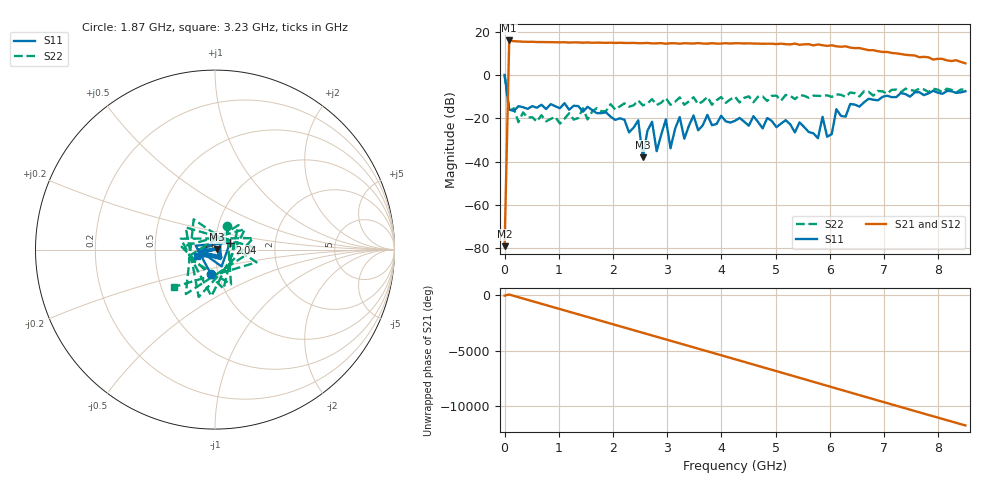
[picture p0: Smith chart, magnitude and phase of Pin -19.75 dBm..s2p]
! RsaToolbox (C) 2013 Rohde & Schwarz America
! Number of points: 101
! Number of ports: 2
! Balanced ports?: 0
# Hz S RI R 50
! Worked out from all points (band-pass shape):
!   101 points, 9 kHz to 8.5 GHz, reference 50 ohm
!   highest |S21| = 16.10 dB at 85.01 MHz (marker M1); lowest = -79.2 dB at 9 kHz (marker M2)
!   |S21| within 3 dB of the highest: 82.33 MHz to 6.332 GHz (6.25 GHz wide, 195 % of centre)
!   lowest |S11| = -38.0 dB at 2.55 GHz (marker M3), VSWR 1.03, Z = 51.3 + j0.218 ohm
!   |S11| at or under -10 dB: 53.65 MHz to 6.975 GHz (6.922 GHz wide, 197 % of centre); 7.122 GHz to 7.23 GHz (108.4 MHz wide, 1.51 % of centre)
!   |S22| runs from -22.4 to 0.1 dB; largest |S21 - S12| = 0
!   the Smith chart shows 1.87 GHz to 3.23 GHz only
!   S11 on the Smith chart (normalised r, x): 1.87 GHz: 0.92, -0.26; 2.04 GHz: 1.18, +0.09; 3.23 GHz: 0.81, -0.06
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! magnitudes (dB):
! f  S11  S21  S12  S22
! 9 kHz  0.2  -79.2  -79.2  0.1
! 85.01 MHz  -15.9  16.1  16.1  -16.6
! 1.02 GHz  -15.3  15.2  15.2  -22.4
! 1.445 GHz  -16.9  15.1  15.1  -15.3
! 1.87 GHz  -17.2  15.0  15.0  -16.6
! 2.04 GHz  -20.7  15.0  15.0  -15.9
! 2.465 GHz  -20.9  14.8  14.8  -11.7
! 2.55 GHz  -38.0  14.9  14.9  -14.0
! 2.72 GHz  -21.6  14.7  14.7  -11.1
! 2.805 GHz  -35.2  14.8  14.8  -13.8
! 2.89 GHz  -27.4  14.9  14.9  -12.7
! 2.975 GHz  -20.4  14.6  14.6  -10.6
! 3.06 GHz  -33.8  14.8  14.8  -13.7
! 3.23 GHz  -19.4  14.6  14.6  -10.2
! 3.315 GHz  -29.4  14.8  14.8  -13.7
! 3.485 GHz  -18.6  14.7  14.7  -10.2
! 3.57 GHz  -25.5  14.9  14.9  -13.4
! 4.25 GHz  -21.1  14.8  14.8  -9.9
! 5.695 GHz  -26.9  13.8  13.8  -9.5
! 6.12 GHz  -15.7  13.4  13.4  -8.8
! 7.14 GHz  -10.1  10.3  10.3  -6.8
! 8.5 GHz  -7.4  5.5  5.5  -6.7
